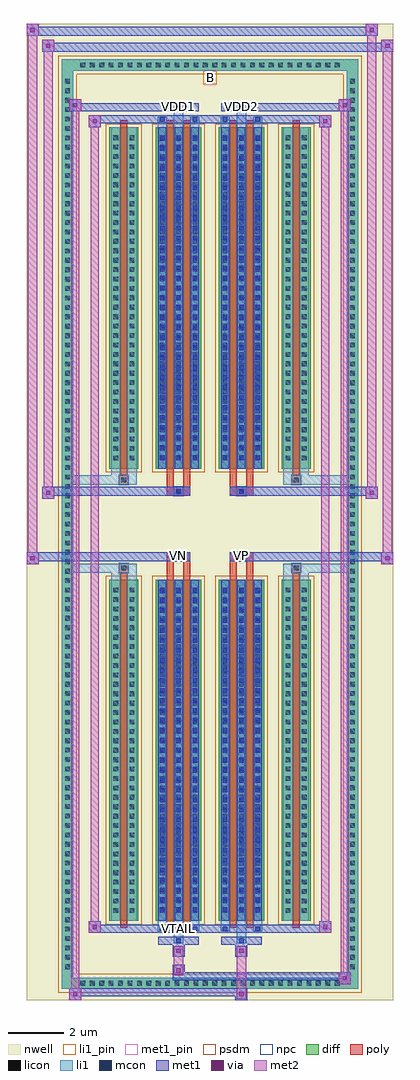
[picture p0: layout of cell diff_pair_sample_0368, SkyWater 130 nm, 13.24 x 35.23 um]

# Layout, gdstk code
import gdstk
lib = gdstk.Library(unit=1e-6, precision=5e-09)
def R(c, l, rs):  # rectangles x0, y0, x1, y1
    for r in rs: c.add(gdstk.rectangle(r[:2], r[2:], *l))
def A(c, l, x, y, w, h, nx, ny, dx, dy):  # array of equal rectangles
    R(c, l, [(x+i*dx, y+j*dy, x+i*dx+w, y+j*dy+h) for i in range(nx) for j in range(ny)])
def P(c, l, *ps):  # polygons
    for p in ps: c.add(gdstk.Polygon(p, *l))
nwell = (64, 20)
diff = (65, 20)
poly = (66, 20)
licon = (66, 44)
li1_pin = (67, 16)
li1 = (67, 20)
mcon = (67, 44)
met1_pin = (68, 16)
met1 = (68, 20)
via = (68, 44)
met2 = (69, 20)
psdm = (94, 20)
npc = (95, 20)

diff_pair_sample_0368 = lib.new_cell('diff_pair_sample_0368')
R(diff_pair_sample_0368, nwell, [(-6.62,-17.18,6.62,18.05), (-3.94,-15.37,-0.01,-0.815), (0.01,-15.37,3.94,-0.815), (-3.94,0.815,-0.01,15.37), (0.01,0.815,3.94,15.37)])
A(diff_pair_sample_0368, diff, -4.795, -16.78, 0.41, 0.41, 28, 2, 0.34, 33.15)
A(diff_pair_sample_0368, diff, -5.35, -16.185, 0.41, 0.41, 1, 95, 0, 0.34)
A(diff_pair_sample_0368, diff, 4.94, -16.185, 0.41, 0.41, 1, 95, 0, 0.34)
R(diff_pair_sample_0368, diff, [(-4.795,-16.78,4.795,-16.37), (-5.35,-16.185,-4.94,16.185), (4.94,-16.185,5.35,16.185), (-3.63,-14.325,-2.59,-2.005), (-1.95,-14.325,-0.32,-2.005), (0.32,-14.325,1.95,-2.005), (2.59,-14.325,3.63,-2.005), (-3.63,2.005,-2.59,14.325), (-1.95,2.005,-0.32,14.325), (0.32,2.005,1.95,14.325), (2.59,2.005,3.63,14.325), (-4.795,16.37,4.795,16.78)])
P(diff_pair_sample_0368, diff, [(5.35,16.78),(-5.35,16.78),(-5.35,-16.37),(-4.94,-16.37),(-4.94,16.37),(4.94,16.37),(4.94,-16.37),(-4.94,-16.37),(-5.35,-16.37),(-5.35,-16.78),(5.35,-16.78)])
R(diff_pair_sample_0368, poly, [(-3.24,-14.575,-2.98,-1.755), (-1.56,-14.575,-1.3,-1.755), (-0.97,-14.575,-0.71,-1.755), (0.71,-14.575,0.97,-1.755), (1.3,-14.575,1.56,-1.755), (2.98,-14.575,3.24,-1.755), (-3.275,-1.755,-2.945,-1.425), (-3.275,-1.755,-2.945,-1.425), (-1.56,-1.755,-1.3,-1.345), (-0.97,-1.755,-0.71,-1.345), (0.71,-1.755,0.97,-1.345), (1.3,-1.755,1.56,-1.345), (2.945,-1.755,3.275,-1.425), (2.945,-1.755,3.275,-1.425), (-1.56,-1.345,-0.71,-1.015), (-1.3,-1.345,-0.97,-1.015), (0.71,-1.345,1.56,-1.015), (0.97,-1.345,1.3,-1.015), (-1.56,1.015,-0.71,1.345), (-1.3,1.015,-0.97,1.345), (0.71,1.015,1.56,1.345), (0.97,1.015,1.3,1.345), (-1.56,1.345,-1.3,1.755), (-0.97,1.345,-0.71,1.755), (0.71,1.345,0.97,1.755), (1.3,1.345,1.56,1.755), (-3.275,1.425,-2.945,1.755), (-3.275,1.425,-2.945,1.755), (2.945,1.425,3.275,1.755), (2.945,1.425,3.275,1.755), (-3.24,1.755,-2.98,14.575), (-1.56,1.755,-1.3,14.575), (-0.97,1.755,-0.71,14.575), (0.71,1.755,0.97,14.575), (1.3,1.755,1.56,14.575), (2.98,1.755,3.24,14.575)])
A(diff_pair_sample_0368, licon, -4.675, -16.66, 0.17, 0.17, 28, 2, 0.34, 33.15)
A(diff_pair_sample_0368, licon, -5.23, -16.065, 0.17, 0.17, 1, 95, 0, 0.34)
A(diff_pair_sample_0368, licon, 5.06, -16.065, 0.17, 0.17, 1, 95, 0, 0.34)
A(diff_pair_sample_0368, licon, -3.49, -14.03, 0.17, 0.17, 1, 35, 0, 0.34)
A(diff_pair_sample_0368, licon, -2.9, -14.03, 0.17, 0.17, 1, 35, 0, 0.34)
A(diff_pair_sample_0368, licon, -1.81, -14.03, 0.17, 0.17, 3, 35, 0.59, 0.34)
A(diff_pair_sample_0368, licon, 0.46, -14.03, 0.17, 0.17, 3, 35, 0.59, 0.34)
A(diff_pair_sample_0368, licon, 2.73, -14.03, 0.17, 0.17, 1, 35, 0, 0.34)
A(diff_pair_sample_0368, licon, 3.32, -14.03, 0.17, 0.17, 1, 35, 0, 0.34)
A(diff_pair_sample_0368, licon, -3.49, 2.3, 0.17, 0.17, 1, 35, 0, 0.34)
A(diff_pair_sample_0368, licon, -2.9, 2.3, 0.17, 0.17, 1, 35, 0, 0.34)
A(diff_pair_sample_0368, licon, -1.81, 2.3, 0.17, 0.17, 3, 35, 0.59, 0.34)
A(diff_pair_sample_0368, licon, 0.46, 2.3, 0.17, 0.17, 3, 35, 0.59, 0.34)
A(diff_pair_sample_0368, licon, 2.73, 2.3, 0.17, 0.17, 1, 35, 0, 0.34)
A(diff_pair_sample_0368, licon, 3.32, 2.3, 0.17, 0.17, 1, 35, 0, 0.34)
R(diff_pair_sample_0368, licon, [(-3.195,-1.675,-3.025,-1.505), (3.025,-1.675,3.195,-1.505), (-1.22,-1.265,-1.05,-1.095), (1.05,-1.265,1.22,-1.095), (-1.22,1.095,-1.05,1.265), (1.05,1.095,1.22,1.265), (-3.195,1.505,-3.025,1.675), (3.025,1.505,3.195,1.675)])
R(diff_pair_sample_0368, li1_pin, [(-0.25,15.87,0.25,16.37)])
A(diff_pair_sample_0368, li1, -4.755, -16.74, 0.33, 0.33, 28, 2, 0.34, 33.15)
A(diff_pair_sample_0368, li1, -5.31, -16.145, 0.33, 0.33, 1, 95, 0, 0.34)
A(diff_pair_sample_0368, li1, 4.98, -16.145, 0.33, 0.33, 1, 95, 0, 0.34)
A(diff_pair_sample_0368, li1, -1.89, -14.325, 0.33, 12.32, 3, 2, 0.59, 16.33)
A(diff_pair_sample_0368, li1, 0.38, -14.325, 0.33, 12.32, 3, 2, 0.59, 16.33)
A(diff_pair_sample_0368, li1, -3.57, -14.11, 0.33, 0.33, 1, 35, 0, 0.34)
A(diff_pair_sample_0368, li1, -2.98, -14.11, 0.33, 0.33, 1, 35, 0, 0.34)
A(diff_pair_sample_0368, li1, -1.89, -14.11, 0.33, 0.33, 3, 35, 0.59, 0.34)
A(diff_pair_sample_0368, li1, 0.38, -14.11, 0.33, 0.33, 3, 35, 0.59, 0.34)
A(diff_pair_sample_0368, li1, 2.65, -14.11, 0.33, 0.33, 1, 35, 0, 0.34)
A(diff_pair_sample_0368, li1, 3.24, -14.11, 0.33, 0.33, 1, 35, 0, 0.34)
A(diff_pair_sample_0368, li1, -1.81, -14.01, 0.17, 0.17, 3, 33, 0.59, 0.36)
A(diff_pair_sample_0368, li1, -1.81, -14.01, 0.17, 11.69, 3, 2, 0.59, 16.33)
A(diff_pair_sample_0368, li1, 0.46, -14.01, 0.17, 0.17, 3, 33, 0.59, 0.36)
A(diff_pair_sample_0368, li1, 0.46, -14.01, 0.17, 11.69, 3, 2, 0.59, 16.33)
A(diff_pair_sample_0368, li1, -3.57, 2.22, 0.33, 0.33, 1, 35, 0, 0.34)
A(diff_pair_sample_0368, li1, -2.98, 2.22, 0.33, 0.33, 1, 35, 0, 0.34)
A(diff_pair_sample_0368, li1, -1.89, 2.22, 0.33, 0.33, 3, 35, 0.59, 0.34)
A(diff_pair_sample_0368, li1, 0.38, 2.22, 0.33, 0.33, 3, 35, 0.59, 0.34)
A(diff_pair_sample_0368, li1, 2.65, 2.22, 0.33, 0.33, 1, 35, 0, 0.34)
A(diff_pair_sample_0368, li1, 3.24, 2.22, 0.33, 0.33, 1, 35, 0, 0.34)
A(diff_pair_sample_0368, li1, -1.81, 2.32, 0.17, 0.17, 3, 33, 0.59, 0.36)
A(diff_pair_sample_0368, li1, 0.46, 2.32, 0.17, 0.17, 3, 33, 0.59, 0.36)
R(diff_pair_sample_0368, li1, [(-5.35,-16.78,-4.94,-16.37), (-5.35,-16.78,-4.94,-16.37), (-4.94,-16.78,4.94,-16.37), (4.94,-16.78,5.35,-16.37), (4.94,-16.78,5.35,-16.37), (-5.35,-16.37,-4.94,16.37), (4.94,-16.37,5.35,16.37), (-1.3,-15.13,-0.97,-14.325), (-1.22,-15.13,-1.05,-14.96), (0.97,-15.13,1.3,-14.325), (1.05,-15.13,1.22,-14.96), (-1.89,-14.7,-1.56,-14.325), (-1.81,-14.7,-1.64,-14.53), (-0.71,-14.7,-0.38,-14.325), (-0.63,-14.7,-0.46,-14.53), (0.38,-14.7,0.71,-14.325), (0.46,-14.7,0.63,-14.53), (1.56,-14.7,1.89,-14.325), (1.64,-14.7,1.81,-14.53), (-3.57,-14.325,-3.24,-2.005), (-2.98,-14.325,-2.65,-2.005), (2.65,-14.325,2.98,-2.005), (3.24,-14.325,3.57,-2.005), (-3.57,-2.005,-3.24,-1.425), (-2.98,-2.005,-2.65,-1.425), (2.65,-2.005,2.98,-1.425), (3.24,-2.005,3.57,-1.425), (-5.35,-1.755,-3.275,-1.425), (-3.57,-1.755,-3.275,-1.425), (-3.275,-1.755,-2.945,-1.425), (-2.945,-1.755,-2.65,-1.425), (2.65,-1.755,2.945,-1.425), (2.945,-1.755,3.275,-1.425), (2.945,-1.755,5.35,-1.425), (3.275,-1.755,3.57,-1.425), (-1.3,-1.345,-0.97,-1.015), (0.97,-1.345,1.3,-1.015), (-1.3,1.015,-0.97,1.345), (0.97,1.015,1.3,1.345), (-5.35,1.425,-3.275,1.755), (-3.57,1.425,-3.275,1.755), (-3.57,1.425,-3.24,2.005), (-3.275,1.425,-2.945,1.755), (-2.98,1.425,-2.65,2.005), (-2.945,1.425,-2.65,1.755), (2.65,1.425,2.945,1.755), (2.65,1.425,2.98,2.005), (2.945,1.425,3.275,1.755), (2.945,1.425,5.35,1.755), (3.24,1.425,3.57,2.005), (3.275,1.425,3.57,1.755), (-3.57,2.005,-3.24,14.325), (-2.98,2.005,-2.65,14.325), (2.65,2.005,2.98,14.325), (3.24,2.005,3.57,14.325), (-1.89,14.325,-1.56,14.7), (-1.3,14.325,-0.97,15.13), (-0.71,14.325,-0.38,14.7), (0.38,14.325,0.71,14.7), (0.97,14.325,1.3,15.13), (1.56,14.325,1.89,14.7), (-1.81,14.53,-1.64,14.7), (-0.63,14.53,-0.46,14.7), (0.46,14.53,0.63,14.7), (1.64,14.53,1.81,14.7), (-1.22,14.96,-1.05,15.13), (1.05,14.96,1.22,15.13), (-5.35,16.37,-4.94,16.78), (-5.35,16.37,-4.94,16.78), (-4.94,16.37,4.94,16.78), (4.94,16.37,5.35,16.78), (4.94,16.37,5.35,16.78)])
A(diff_pair_sample_0368, mcon, -1.81, -14.01, 0.17, 0.17, 3, 33, 0.59, 0.36)
A(diff_pair_sample_0368, mcon, 0.46, -14.01, 0.17, 0.17, 3, 33, 0.59, 0.36)
A(diff_pair_sample_0368, mcon, -1.81, 2.32, 0.17, 0.17, 3, 33, 0.59, 0.36)
A(diff_pair_sample_0368, mcon, 0.46, 2.32, 0.17, 0.17, 3, 33, 0.59, 0.36)
R(diff_pair_sample_0368, mcon, [(-1.22,-15.13,-1.05,-14.96), (1.05,-15.13,1.22,-14.96), (-1.81,-14.7,-1.64,-14.53), (-0.63,-14.7,-0.46,-14.53), (0.46,-14.7,0.63,-14.53), (1.64,-14.7,1.81,-14.53), (-1.22,-1.265,-1.05,-1.095), (1.05,-1.265,1.22,-1.095), (-1.22,1.095,-1.05,1.265), (1.05,1.095,1.22,1.265), (-1.81,14.53,-1.64,14.7), (-0.63,14.53,-0.46,14.7), (0.46,14.53,0.63,14.7), (1.64,14.53,1.81,14.7), (-1.22,14.96,-1.05,15.13), (1.05,14.96,1.22,15.13)])
R(diff_pair_sample_0368, met1_pin, [(-1.27,-14.74,-1,-14.47), (-1.27,-1.285,-1,-1.015), (1,-1.285,1.27,-1.015), (-1.27,14.92,-1,15.19), (1,14.92,1.27,15.19)])
A(diff_pair_sample_0368, met1, -1.87, -14.325, 0.29, 12.32, 3, 2, 0.59, 16.33)
A(diff_pair_sample_0368, met1, 0.4, -14.325, 0.29, 12.32, 3, 2, 0.59, 16.33)
A(diff_pair_sample_0368, met1, -1.87, -14.07, 0.29, 0.29, 3, 33, 0.59, 0.36)
A(diff_pair_sample_0368, met1, 0.4, -14.07, 0.29, 0.29, 3, 33, 0.59, 0.36)
A(diff_pair_sample_0368, met1, -1.87, 2.26, 0.29, 0.29, 3, 33, 0.59, 0.36)
A(diff_pair_sample_0368, met1, 0.4, 2.26, 0.29, 0.29, 3, 33, 0.59, 0.36)
R(diff_pair_sample_0368, met1, [(-5.08,-17.18,-4.65,-16.75), (0.92,-17.18,1.35,-16.75), (-5.08,-17.04,1.35,-16.75), (4.65,-16.61,5.08,-16.18), (-1.35,-16.47,5.08,-16.18), (-1.35,-16.33,-0.92,-15.9), (-1.35,-15.62,-0.92,-15.19), (0.92,-15.62,1.35,-15.19), (-1.87,-15.19,-0.4,-14.9), (-1.28,-15.19,-0.99,-14.9), (0.4,-15.19,1.87,-14.9), (0.99,-15.19,1.28,-14.9), (-4.37,-14.76,-3.94,-14.33), (-4.37,-14.76,-1.87,-14.47), (-1.87,-14.76,-1.58,-14.47), (-1.87,-14.76,-0.4,-14.47), (-0.69,-14.76,-0.4,-14.47), (-0.4,-14.76,0.4,-14.47), (0.4,-14.76,0.69,-14.47), (0.4,-14.76,1.87,-14.47), (1.58,-14.76,1.87,-14.47), (1.87,-14.76,4.37,-14.47), (3.94,-14.76,4.37,-14.33), (-6.62,-1.445,-6.19,-1.015), (6.19,-1.445,6.62,-1.015), (-6.62,-1.345,-0.71,-1.015), (-1.56,-1.345,-0.71,-1.015), (0.71,-1.345,1.56,-1.015), (0.71,-1.345,6.62,-1.015), (-1.28,-1.325,-0.99,-1.035), (0.99,-1.325,1.28,-1.035), (-6.05,0.915,-5.62,1.345), (5.62,0.915,6.05,1.345), (-6.05,1.015,-1.56,1.345), (-1.56,1.015,-0.71,1.345), (0.71,1.015,1.56,1.345), (1.56,1.015,6.05,1.345), (-1.28,1.035,-0.99,1.325), (0.99,1.035,1.28,1.325), (-4.37,14.33,-3.94,14.76), (3.94,14.33,4.37,14.76), (-4.37,14.47,-1.87,14.76), (-1.87,14.47,-1.58,14.76), (-1.87,14.47,-0.4,14.76), (-0.69,14.47,-0.4,14.76), (-0.4,14.47,0.4,14.76), (0.4,14.47,0.69,14.76), (0.4,14.47,1.87,14.76), (1.58,14.47,1.87,14.76), (1.87,14.47,4.37,14.76), (-5.08,14.9,-4.65,15.33), (-5.08,14.9,-1.87,15.19), (-1.87,14.9,-0.4,15.19), (-1.28,14.9,-0.99,15.19), (0.4,14.9,1.87,15.19), (0.99,14.9,1.28,15.19), (1.87,14.9,5.08,15.19), (4.65,14.9,5.08,15.33), (-6.05,17.05,-5.62,17.48), (-6.05,17.05,-3.94,17.38), (-3.94,17.05,3.94,17.38), (3.94,17.05,6.62,17.38), (6.19,17.05,6.62,17.48), (-6.62,17.62,-6.19,18.05), (-6.62,17.62,-3.94,17.95), (-3.94,17.62,3.94,17.95), (3.94,17.62,6.05,17.95), (5.62,17.62,6.05,18.05)])
R(diff_pair_sample_0368, via, [(-4.94,-17.04,-4.79,-16.89), (1.06,-17.04,1.21,-16.89), (4.79,-16.47,4.94,-16.32), (-1.21,-16.19,-1.06,-16.04), (-1.21,-15.48,-1.06,-15.33), (1.06,-15.48,1.21,-15.33), (-4.23,-14.62,-4.08,-14.47), (4.08,-14.62,4.23,-14.47), (-6.48,-1.305,-6.33,-1.155), (6.33,-1.305,6.48,-1.155), (-5.91,1.055,-5.76,1.205), (5.76,1.055,5.91,1.205), (-4.23,14.47,-4.08,14.62), (4.08,14.47,4.23,14.62), (-4.94,15.04,-4.79,15.19), (4.79,15.04,4.94,15.19), (-5.91,17.19,-5.76,17.34), (6.33,17.19,6.48,17.34), (-6.48,17.76,-6.33,17.91), (5.76,17.76,5.91,17.91)])
R(diff_pair_sample_0368, met2, [(-5.08,-17.18,-4.65,-16.75), (-5.01,-17.18,-4.72,15.33), (-4.72,-17.18,-4.65,-16.75), (-5.03,-17.13,-4.7,-16.8), (0.97,-17.13,1.3,-16.8), (0.97,-16.8,1.3,-15.57), (4.65,-16.61,5.08,-16.18), (4.72,-16.61,5.01,15.33), (5.01,-16.61,5.08,-16.18), (4.7,-16.56,5.03,-16.23), (-1.3,-16.28,-0.97,-15.95), (-1.3,-15.95,-0.97,-15.57), (-1.3,-15.57,-0.97,-15.24), (0.97,-15.57,1.3,-15.24), (-4.37,-14.76,-3.94,-14.33), (-4.3,-14.76,-4.01,14.76), (-4.01,-14.76,-3.94,-14.33), (3.94,-14.76,4.37,-14.33), (4.01,-14.76,4.3,14.76), (4.3,-14.76,4.37,-14.33), (-4.32,-14.71,-3.99,-14.38), (3.99,-14.71,4.32,-14.38), (-6.62,-1.445,-6.19,-1.015), (-6.57,-1.445,-6.24,18.05), (-6.24,-1.445,-6.19,-1.015), (6.19,-1.445,6.62,-1.015), (6.24,-1.445,6.57,17.48), (6.57,-1.445,6.62,-1.015), (-6.57,-1.395,-6.24,-1.065), (6.24,-1.395,6.57,-1.065), (-6.05,0.915,-5.62,1.345), (-6,0.915,-5.67,17.48), (-5.67,0.915,-5.62,1.345), (5.62,0.915,6.05,1.345), (5.67,0.915,6,18.05), (6,0.915,6.05,1.345), (-6,0.965,-5.67,1.295), (5.67,0.965,6,1.295), (-4.37,14.33,-3.94,14.76), (-4.01,14.33,-3.94,14.76), (3.94,14.33,4.37,14.76), (4.3,14.33,4.37,14.76), (-4.32,14.38,-3.99,14.71), (3.99,14.38,4.32,14.71), (-5.08,14.9,-4.65,15.33), (-4.72,14.9,-4.65,15.33), (4.65,14.9,5.08,15.33), (5.01,14.9,5.08,15.33), (-5.03,14.95,-4.7,15.28), (4.7,14.95,5.03,15.28), (-6.05,17.05,-5.62,17.48), (-5.67,17.05,-5.62,17.48), (6.19,17.05,6.62,17.48), (6.57,17.05,6.62,17.48), (-6,17.1,-5.67,17.43), (6.24,17.1,6.57,17.43), (-6.62,17.62,-6.19,18.05), (-6.24,17.62,-6.19,18.05), (5.62,17.62,6.05,18.05), (6,17.62,6.05,18.05), (-6.57,17.67,-6.24,18), (5.67,17.67,6,18)])
R(diff_pair_sample_0368, psdm, [(-3.76,-14.455,-2.46,-1.875), (-2.08,-14.455,-0.19,-1.875), (0.19,-14.455,2.08,-1.875), (2.46,-14.455,3.76,-1.875), (-3.76,1.875,-2.46,14.455), (-2.08,1.875,-0.19,14.455), (0.19,1.875,2.08,14.455), (2.46,1.875,3.76,14.455)])
P(diff_pair_sample_0368, psdm, [(5.48,16.91),(-5.48,16.91),(-5.48,-16.24),(-4.81,-16.24),(-4.81,16.24),(4.81,16.24),(4.81,-16.24),(-4.81,-16.24),(-5.48,-16.24),(-5.48,-16.91),(5.48,-16.91)])
R(diff_pair_sample_0368, npc, [(-3.295,-1.775,-2.925,-1.405), (2.925,-1.775,3.295,-1.405), (-1.32,-1.365,-0.95,-0.995), (0.95,-1.365,1.32,-0.995), (-1.32,0.995,-0.95,1.365), (0.95,0.995,1.32,1.365), (-3.295,1.405,-2.925,1.775), (2.925,1.405,3.295,1.775)])
diff_pair_sample_0368.add(gdstk.Label('VTAIL', (-1.135,-14.605), layer=68, texttype=5))
diff_pair_sample_0368.add(gdstk.Label('VN', (-1.135,-1.15), layer=68, texttype=5))
diff_pair_sample_0368.add(gdstk.Label('VP', (1.135,-1.15), layer=68, texttype=5))
diff_pair_sample_0368.add(gdstk.Label('B', (0,16.12), layer=67, texttype=5))
diff_pair_sample_0368.add(gdstk.Label('VDD2', (1.135,15.055), layer=68, texttype=5))
diff_pair_sample_0368.add(gdstk.Label('VDD1', (-1.135,15.055), layer=68, texttype=5))

lib.write_gds('diff_pair_sample_0368.gds')
